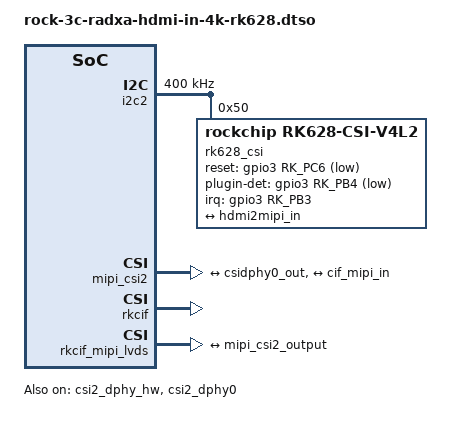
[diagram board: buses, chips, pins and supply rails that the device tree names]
/dts-v1/;
/plugin/;

#include <dt-bindings/gpio/gpio.h>
#include <dt-bindings/interrupt-controller/irq.h>
#include <dt-bindings/pinctrl/rockchip.h>

/ {
	metadata {
		title = "Enable Radxa 4K HDMI IN to MIPI CSI-2 Adapter";
		compatible = "radxa,rock-3c", "radxa,zero3";
		category = "camera";
		exclusive = "csi2_dphy0", "GPIO3_B3", "GPIO3_C6", "GPIO3_B4";
		description = "Enable Radxa 4K HDMI IN to MIPI CSI-2 Adapter.
In addition to the CSI FPC, connect INT to pin29 and DET to pin31.
To capture audio, also enable the 'I2S3-M0 capture-only dummy sound card' overlay.
";
	};
};

&i2c2 {
	status = "okay";
	clock-frequency = <400000>;
	pinctrl-names = "default";
	pinctrl-0 = <&i2c2m1_xfer>;
	#address-cells = <1>;
	#size-cells = <0>;

	rk628_csi: rk628-csi@50 {
		compatible = "rockchip,rk628-csi-v4l2";
		reg = <0x50>;
		pinctrl-names = "default";
		pinctrl-0 = <&rk628_pin>;
		interrupt-parent = <&gpio3>;
		interrupts = <RK_PB3 IRQ_TYPE_LEVEL_HIGH>;
		reset-gpios = <&gpio3 RK_PC6 GPIO_ACTIVE_LOW>;
		plugin-det-gpios = <&gpio3 RK_PB4 GPIO_ACTIVE_LOW>;
		continues-clk = <1>;

		rockchip,camera-module-index = <0>;
		rockchip,camera-module-facing = "back";
		rockchip,camera-module-name = "HDMI-MIPI";
		rockchip,camera-module-lens-name = "RK628-CSI";

		port {
			hdmiin_out: endpoint {
				remote-endpoint = <&hdmi2mipi_in>;
				data-lanes = <1 2>;
			};
		};
	};
};

&csi2_dphy_hw {
	status = "okay";
};

&csi2_dphy0 {
	status = "okay";

	ports {
		#address-cells = <1>;
		#size-cells = <0>;

		port@0 {
			reg = <0>;
			#address-cells = <1>;
			#size-cells = <0>;

			hdmi2mipi_in: endpoint@1 {
				reg = <1>;
				remote-endpoint = <&hdmiin_out>;
				data-lanes = <1 2>;
			};
		};

		port@1 {
			reg = <1>;

			csidphy0_out: endpoint {
				remote-endpoint = <&mipi_csi2_input>;
			};
		};
	};
};

&mipi_csi2 {
	status = "okay";

	ports {
		#address-cells = <1>;
		#size-cells = <0>;

		port@0 {
			reg = <0>;
			#address-cells = <1>;
			#size-cells = <0>;

			mipi_csi2_input: endpoint@1 {
				reg = <1>;
				remote-endpoint = <&csidphy0_out>;
			};
		};

		port@1 {
			reg = <1>;

			mipi_csi2_output: endpoint {
				remote-endpoint = <&cif_mipi_in>;
			};
		};
	};
};

&rkcif {
	status = "okay";
};

&rkcif_mipi_lvds {
	status = "okay";

	port {
		cif_mipi_in: endpoint {
			remote-endpoint = <&mipi_csi2_output>;
		};
	};
};

&rkcif_mmu {
	status = "okay";
};

&pinctrl {
	hdmiin {
		rk628_pin: rk628-pin {
			rockchip,pins =
				<3 RK_PB3 RK_FUNC_GPIO &pcfg_pull_up>,
				<3 RK_PC6 RK_FUNC_GPIO &pcfg_pull_none>,
				<3 RK_PB4 RK_FUNC_GPIO &pcfg_pull_none>;
		};
	};
};
